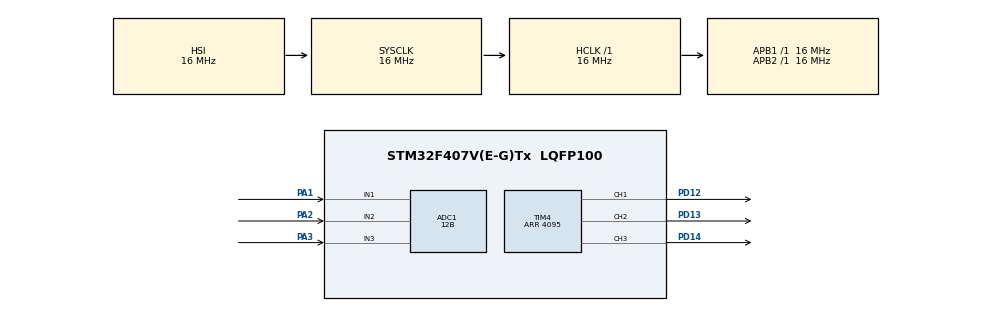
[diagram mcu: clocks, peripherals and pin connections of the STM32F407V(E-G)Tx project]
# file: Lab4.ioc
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ADC1.Channel-0\#ChannelRegularConversion=ADC_CHANNEL_3
ADC1.ClockPrescaler=ADC_CLOCK_SYNC_PCLK_DIV8
ADC1.ContinuousConvMode=DISABLE
ADC1.DataAlign=ADC_DATAALIGN_RIGHT
ADC1.EOCSelection=ADC_EOC_SINGLE_CONV
ADC1.InjNumberOfConversion=0
ADC1.NbrOfConversion=1
ADC1.NbrOfConversionFlag=1
ADC1.Rank-0\#ChannelRegularConversion=1
ADC1.Resolution=ADC_RESOLUTION_12B
ADC1.SamplingTime-0\#ChannelRegularConversion=ADC_SAMPLETIME_480CYCLES
ADC1.master=1
Mcu.Family=STM32F4
Mcu.Name=STM32F407V(E-G)Tx
Mcu.Package=LQFP100
NVIC.PriorityGroup=NVIC_PRIORITYGROUP_4
PA1.Signal=ADCx_IN1
PA2.Signal=ADCx_IN2
PA3.Signal=ADCx_IN3
PD12.Signal=S_TIM4_CH1
PD13.Signal=S_TIM4_CH2
PD14.Signal=S_TIM4_CH3
ProjectManager.HeapSize=0x200
ProjectManager.StackSize=0x400
ProjectManager.TargetToolchain=STM32CubeIDE
RCC.AHBFreq_Value=16000000
RCC.APB1Freq_Value=16000000
RCC.APB2Freq_Value=16000000
RCC.CortexFreq_Value=16000000
RCC.HSE_VALUE=25000000
RCC.HSI_VALUE=16000000
RCC.LSE_VALUE=32768
RCC.SYSCLKFreq_VALUE=16000000
RCC.VCOOutputFreq_Value=192000000
SH.ADCx_IN1.0=ADC1_IN1,IN1
SH.ADCx_IN2.0=ADC1_IN2,IN2
SH.ADCx_IN3.0=ADC1_IN3,IN3
SH.S_TIM4_CH1.0=TIM4_CH1,PWM Generation1 CH1
SH.S_TIM4_CH2.0=TIM4_CH2,PWM Generation2 CH2
SH.S_TIM4_CH3.0=TIM4_CH3,PWM Generation3 CH3
TIM4.Channel-PWM\ Generation1\ CH1=TIM_CHANNEL_1
TIM4.Channel-PWM\ Generation2\ CH2=TIM_CHANNEL_2
TIM4.Channel-PWM\ Generation3\ CH3=TIM_CHANNEL_3
TIM4.CounterMode=TIM_COUNTERMODE_DOWN
TIM4.Period=4095
VP_TIM4_VS_ClockSourceINT.Mode=Internal
board=custom

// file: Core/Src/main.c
/* USER CODE BEGIN Header */
/**
  ******************************************************************************
  * @file           : main.c
  * @brief          : Main program body
  ******************************************************************************
  * @attention
  *
  * Copyright (c) 2024 STMicroelectronics.
  * All rights reserved.
  *
  * This software is licensed under terms that can be found in the LICENSE file
  * in the root directory of this software component.
  * If no LICENSE file comes with this software, it is provided AS-IS.
  *
  ******************************************************************************
  */
/* USER CODE END Header */
#include "main.h"

ADC_HandleTypeDef hadc1;

TIM_HandleTypeDef htim4;

void SystemClock_Config(void);
static void MX_GPIO_Init(void);
static void MX_ADC1_Init(void);
static void MX_TIM4_Init(void);

/* USER CODE BEGIN 0 */
void ADC_SELECT_CH1() {
	ADC_ChannelConfTypeDef sConfig = {0};
	sConfig.Channel = ADC_CHANNEL_3;
	sConfig.Rank = 1;
	sConfig.SamplingTime = ADC_SAMPLETIME_480CYCLES;
	if (HAL_ADC_ConfigChannel(&hadc1, &sConfig) != HAL_OK)
	{
	    Error_Handler();
	}
}

void ADC_SELECT_CH2() {
	ADC_ChannelConfTypeDef sConfig = {0};
	sConfig.Channel = ADC_CHANNEL_2;
	sConfig.Rank = 1;
	sConfig.SamplingTime = ADC_SAMPLETIME_480CYCLES;
	if (HAL_ADC_ConfigChannel(&hadc1, &sConfig) != HAL_OK)
	{
	    Error_Handler();
	}
}

void ADC_SELECT_CH3() {
	ADC_ChannelConfTypeDef sConfig = {0};
	sConfig.Channel = ADC_CHANNEL_1;
	sConfig.Rank = 1;
	sConfig.SamplingTime = ADC_SAMPLETIME_480CYCLES;
	if (HAL_ADC_ConfigChannel(&hadc1, &sConfig) != HAL_OK)
	{
	    Error_Handler();
	}
}

/* USER CODE END 0 */

int main(void)
{

  /* MCU Configuration--------------------------------------------------------*/

  /* Reset of all peripherals, Initializes the Flash interface and the Systick. */
  HAL_Init();

  /* Configure the system clock */
  SystemClock_Config();

  /* Initialize all configured peripherals */
  MX_GPIO_Init();
  MX_ADC1_Init();
  MX_TIM4_Init();
  /* USER CODE BEGIN 2 */
  HAL_TIM_PWM_Start(&htim4, TIM_CHANNEL_1);
  HAL_TIM_PWM_Start(&htim4, TIM_CHANNEL_2);
  HAL_TIM_PWM_Start(&htim4, TIM_CHANNEL_3);
  uint32_t adcValue = 0;
  volatile HAL_StatusTypeDef adcPoolResult;
  /* USER CODE END 2 */

  /* Infinite loop */
  /* USER CODE BEGIN WHILE */

  while (1)
  {
	  ADC_SELECT_CH1();
	  HAL_ADC_Start(&hadc1);
	  adcPoolResult = HAL_ADC_PollForConversion(&hadc1, 10);
	  if (adcPoolResult == HAL_OK)
	  	  adcValue = HAL_ADC_GetValue(&hadc1);
	  else
	  	  continue;
	  TIM4->CCR1 = adcValue;
	  HAL_ADC_Stop(&hadc1);

	  ADC_SELECT_CH2();
	  HAL_ADC_Start(&hadc1);
	  adcPoolResult = HAL_ADC_PollForConversion(&hadc1, 10);
	  if (adcPoolResult == HAL_OK)
	  	  adcValue = HAL_ADC_GetValue(&hadc1);
	  else
	  	  continue;
	  TIM4->CCR2 = adcValue;
	  HAL_ADC_Stop(&hadc1);

	  ADC_SELECT_CH3();
	  HAL_ADC_Start(&hadc1);
	  adcPoolResult = HAL_ADC_PollForConversion(&hadc1, 10);
	  if (adcPoolResult == HAL_OK)
	  	  adcValue = HAL_ADC_GetValue(&hadc1);
	  else
	  	  continue;
	  TIM4->CCR3 = adcValue;
    /* USER CODE END WHILE */

  }
}

void SystemClock_Config(void)
{
  RCC_OscInitTypeDef RCC_OscInitStruct = {0};
  RCC_ClkInitTypeDef RCC_ClkInitStruct = {0};

  /** Configure the main internal regulator output voltage
  */
  __HAL_RCC_PWR_CLK_ENABLE();
  __HAL_PWR_VOLTAGESCALING_CONFIG(PWR_REGULATOR_VOLTAGE_SCALE1);

  /** Initializes the RCC Oscillators according to the specified parameters
  * in the RCC_OscInitTypeDef structure.
  */
  RCC_OscInitStruct.OscillatorType = RCC_OSCILLATORTYPE_HSI;
  RCC_OscInitStruct.HSIState = RCC_HSI_ON;
  RCC_OscInitStruct.HSICalibrationValue = RCC_HSICALIBRATION_DEFAULT;
  RCC_OscInitStruct.PLL.PLLState = RCC_PLL_NONE;
  if (HAL_RCC_OscConfig(&RCC_OscInitStruct) != HAL_OK)
  {
    Error_Handler();
  }

  /** Initializes the CPU, AHB and APB buses clocks
  */
  RCC_ClkInitStruct.ClockType = RCC_CLOCKTYPE_HCLK|RCC_CLOCKTYPE_SYSCLK
                              |RCC_CLOCKTYPE_PCLK1|RCC_CLOCKTYPE_PCLK2;
  RCC_ClkInitStruct.SYSCLKSource = RCC_SYSCLKSOURCE_HSI;
  RCC_ClkInitStruct.AHBCLKDivider = RCC_SYSCLK_DIV1;
  RCC_ClkInitStruct.APB1CLKDivider = RCC_HCLK_DIV1;
  RCC_ClkInitStruct.APB2CLKDivider = RCC_HCLK_DIV1;

  if (HAL_RCC_ClockConfig(&RCC_ClkInitStruct, FLASH_LATENCY_0) != HAL_OK)
  {
    Error_Handler();
  }
}

static void MX_ADC1_Init(void)
{

  ADC_ChannelConfTypeDef sConfig = {0};

  /** Configure the global features of the ADC (Clock, Resolution, Data Alignment and number of conversion)
  */
  hadc1.Instance = ADC1;
  hadc1.Init.ClockPrescaler = ADC_CLOCK_SYNC_PCLK_DIV8;
  hadc1.Init.Resolution = ADC_RESOLUTION_12B;
  hadc1.Init.ScanConvMode = DISABLE;
  hadc1.Init.ContinuousConvMode = DISABLE;
  hadc1.Init.DiscontinuousConvMode = DISABLE;
  hadc1.Init.ExternalTrigConvEdge = ADC_EXTERNALTRIGCONVEDGE_NONE;
  hadc1.Init.ExternalTrigConv = ADC_SOFTWARE_START;
  hadc1.Init.DataAlign = ADC_DATAALIGN_RIGHT;
  hadc1.Init.NbrOfConversion = 1;
  hadc1.Init.DMAContinuousRequests = DISABLE;
  hadc1.Init.EOCSelection = ADC_EOC_SINGLE_CONV;
  if (HAL_ADC_Init(&hadc1) != HAL_OK)
  {
    Error_Handler();
  }

  /** Configure for the selected ADC regular channel its corresponding rank in the sequencer and its sample time.
  */
  sConfig.Channel = ADC_CHANNEL_3;
  sConfig.Rank = 1;
  sConfig.SamplingTime = ADC_SAMPLETIME_480CYCLES;
  if (HAL_ADC_ConfigChannel(&hadc1, &sConfig) != HAL_OK)
  {
    Error_Handler();
  }

}

static void MX_TIM4_Init(void)
{

  TIM_ClockConfigTypeDef sClockSourceConfig = {0};
  TIM_MasterConfigTypeDef sMasterConfig = {0};
  TIM_OC_InitTypeDef sConfigOC = {0};

  htim4.Instance = TIM4;
  htim4.Init.Prescaler = 0;
  htim4.Init.CounterMode = TIM_COUNTERMODE_DOWN;
  htim4.Init.Period = 4095;
  htim4.Init.ClockDivision = TIM_CLOCKDIVISION_DIV1;
  htim4.Init.AutoReloadPreload = TIM_AUTORELOAD_PRELOAD_DISABLE;
  if (HAL_TIM_Base_Init(&htim4) != HAL_OK)
  {
    Error_Handler();
  }
  sClockSourceConfig.ClockSource = TIM_CLOCKSOURCE_INTERNAL;
  if (HAL_TIM_ConfigClockSource(&htim4, &sClockSourceConfig) != HAL_OK)
  {
    Error_Handler();
  }
  if (HAL_TIM_PWM_Init(&htim4) != HAL_OK)
  {
    Error_Handler();
  }
  sMasterConfig.MasterOutputTrigger = TIM_TRGO_RESET;
  sMasterConfig.MasterSlaveMode = TIM_MASTERSLAVEMODE_DISABLE;
  if (HAL_TIMEx_MasterConfigSynchronization(&htim4, &sMasterConfig) != HAL_OK)
  {
    Error_Handler();
  }
  sConfigOC.OCMode = TIM_OCMODE_PWM1;
  sConfigOC.Pulse = 0;
  sConfigOC.OCPolarity = TIM_OCPOLARITY_HIGH;
  sConfigOC.OCFastMode = TIM_OCFAST_DISABLE;
  if (HAL_TIM_PWM_ConfigChannel(&htim4, &sConfigOC, TIM_CHANNEL_1) != HAL_OK)
  {
    Error_Handler();
  }
  if (HAL_TIM_PWM_ConfigChannel(&htim4, &sConfigOC, TIM_CHANNEL_2) != HAL_OK)
  {
    Error_Handler();
  }
  if (HAL_TIM_PWM_ConfigChannel(&htim4, &sConfigOC, TIM_CHANNEL_3) != HAL_OK)
  {
    Error_Handler();
  }
  HAL_TIM_MspPostInit(&htim4);

}

static void MX_GPIO_Init(void)
{

  /* GPIO Ports Clock Enable */
  __HAL_RCC_GPIOA_CLK_ENABLE();
  __HAL_RCC_GPIOD_CLK_ENABLE();

}

void Error_Handler(void)
{
  __disable_irq();
  while (1)
  {
  }
}
